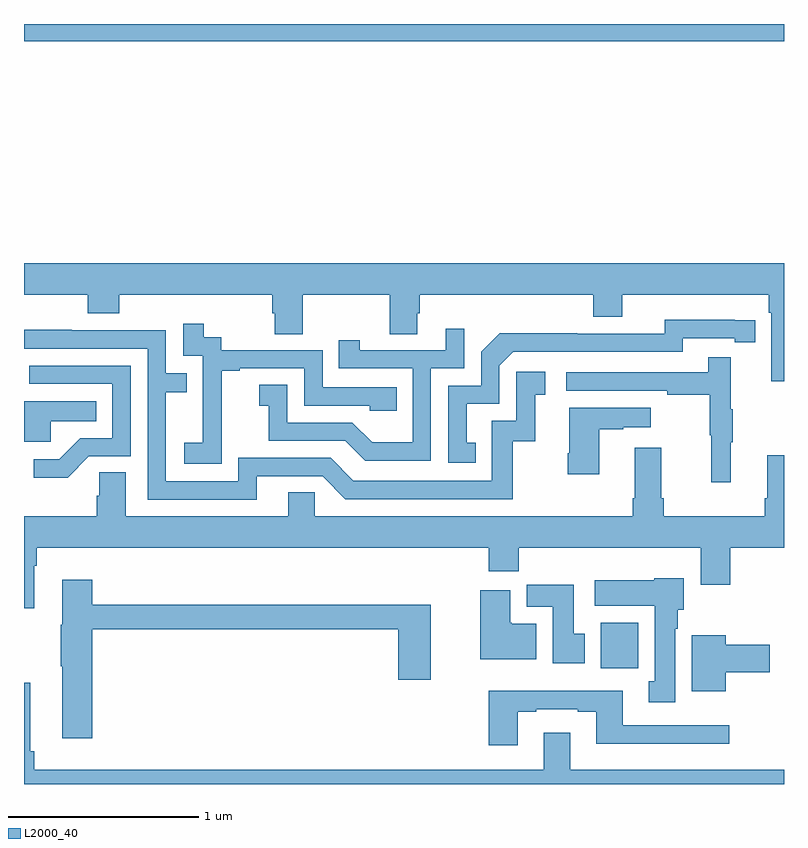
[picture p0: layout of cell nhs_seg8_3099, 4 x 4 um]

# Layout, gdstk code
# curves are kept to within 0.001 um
import gdstk
lib = gdstk.Library(unit=1e-6, precision=1e-09)
def R(c, l, rs):  # rectangles x0, y0, x1, y1
    for r in rs: c.add(gdstk.rectangle(r[:2], r[2:], *l))
def P(c, l, *ps):  # polygons
    for p in ps: c.add(gdstk.Polygon(p, *l))
L2000_40 = (2000, 40)

nhs_seg8_3099 = lib.new_cell('nhs_seg8_3099')
R(nhs_seg8_3099, L2000_40, [(306.035,1138.508,306.232,1138.75), (303,1141.808,307,1141.9)])
P(nhs_seg8_3099, L2000_40, [(307,1140.64),(303,1140.64),(303,1140.476),(303.335,1140.476),(303.335,1140.377),(303.5,1140.377),(303.5,1140.476),(304.307,1140.476),(304.307,1140.378),(304.319,1140.378),(304.319,1140.268),(304.467,1140.268),(304.467,1140.476),(304.924,1140.476),(304.924,1140.268),(305.071,1140.268),(305.071,1140.378),(305.084,1140.378),(305.084,1140.476),(305.996,1140.476),(305.996,1140.359),(306.148,1140.359),(306.148,1140.476),(306.92,1140.476),(306.92,1140.38),(306.933,1140.38),(306.933,1140.021),(307,1140.021)],
  [(305.378,1139.697),(305.329,1139.697),(305.329,1139.901),(305.502,1139.901),(305.502,1140.102),(305.574,1140.174),(306.468,1140.174),(306.468,1140.246),(306.74,1140.246),(306.74,1140.226),(306.848,1140.226),(306.848,1140.342),(306.372,1140.343),(306.372,1140.27),(305.912,1140.27),(305.912,1140.272),(305.504,1140.272),(305.406,1140.174),(305.406,1139.997),(305.232,1139.997),(305.232,1139.592),(305.378,1139.592)],
  [(304.041,1139.791),(304.04,1139.791),(304.04,1140.075),(304.135,1140.075),(304.135,1140.087),(304.476,1140.087),(304.476,1139.892),(304.821,1139.892),(304.821,1139.865),(304.961,1139.865),(304.961,1139.988),(304.572,1139.988),(304.572,1140.183),(304.038,1140.183),(304.038,1140.252),(303.946,1140.252),(303.946,1140.322),(303.837,1140.322),(303.837,1140.153),(303.942,1140.153),(303.942,1139.924),(303.941,1139.924),(303.941,1139.695),(303.843,1139.695),(303.843,1139.585),(304.041,1139.585)],
  [(305.142,1140.087),(305.316,1140.087),(305.316,1140.295),(305.219,1140.295),(305.219,1140.183),(304.768,1140.183),(304.768,1140.235),(304.657,1140.235),(304.657,1140.087),(305.046,1140.087),(305.046,1139.698),(304.832,1139.698),(304.728,1139.802),(304.386,1139.802),(304.386,1140.001),(304.239,1140.001),(304.239,1139.891),(304.288,1139.891),(304.288,1139.706),(304.691,1139.706),(304.796,1139.601),(305.142,1139.601)],
  [(304.225,1139.52),(304.572,1139.52),(304.692,1139.4),(305.572,1139.4),(305.572,1139.703),(305.69,1139.703),(305.69,1139.949),(305.743,1139.949),(305.743,1140.07),(305.592,1140.07),(305.592,1139.811),(305.463,1139.811),(305.463,1139.496),(304.734,1139.496),(304.614,1139.616),(304.128,1139.616),(304.128,1139.493),(303.747,1139.493),(303.747,1139.962),(303.857,1139.962),(303.857,1140.063),(303.747,1140.063),(303.747,1140.288),(303.251,1140.288),(303.251,1140.29),(303,1140.29),(303,1140.192),(303.651,1140.192),(303.651,1139.397),(304.225,1139.397)],
  [(306.719,1139.699),(306.73,1139.699),(306.73,1139.873),(306.719,1139.873),(306.719,1140.145),(306.601,1140.145),(306.601,1140.066),(305.853,1140.066),(305.853,1139.97),(306.385,1139.97),(306.385,1139.95),(306.609,1139.95),(306.609,1139.736),(306.616,1139.736),(306.616,1139.487),(306.719,1139.487)],
  [(303.342,1139.625),(303.561,1139.625),(303.561,1140.102),(303.027,1140.102),(303.027,1140.006),(303.465,1140.006),(303.465,1139.721),(303.296,1139.721),(303.185,1139.61),(303.051,1139.61),(303.051,1139.513),(303.229,1139.513)],
  [(303.141,1139.81),(303.38,1139.81),(303.38,1139.914),(303,1139.914),(303,1139.702),(303.141,1139.702)],
  [(306.028,1139.767),(306.155,1139.767),(306.155,1139.777),(306.298,1139.777),(306.298,1139.881),(305.87,1139.881),(305.87,1139.641),(305.863,1139.641),(305.863,1139.529),(306.028,1139.529)],
  [(303.055,1139.048),(303.068,1139.048),(303.068,1139.144),(305.447,1139.144),(305.447,1139.02),(305.603,1139.02),(305.603,1139.144),(306.563,1139.144),(306.563,1138.95),(306.716,1138.95),(306.716,1139.144),(307,1139.144),(307,1139.629),(306.911,1139.629),(306.911,1139.404),(306.899,1139.404),(306.899,1139.308),(306.368,1139.308),(306.368,1139.404),(306.355,1139.404),(306.355,1139.671),(306.215,1139.671),(306.215,1139.404),(306.203,1139.404),(306.203,1139.308),(304.53,1139.308),(304.53,1139.435),(304.391,1139.435),(304.391,1139.308),(303.535,1139.308),(303.535,1139.54),(303.396,1139.54),(303.396,1139.417),(303.383,1139.417),(303.383,1139.308),(303,1139.308),(303,1138.824),(303.055,1138.824)],
  [(306.427,1138.718),(306.442,1138.718),(306.442,1138.818),(306.472,1138.818),(306.472,1138.984),(306.318,1138.984),(306.318,1138.972),(306.003,1138.972),(306.003,1138.838),(306.32,1138.838),(306.32,1138.442),(306.287,1138.442),(306.287,1138.329),(306.427,1138.329)],
  [(303.359,1138.714),(304.97,1138.714),(304.97,1138.449),(305.14,1138.449),(305.14,1138.843),(303.359,1138.843),(303.359,1138.975),(303.2,1138.975),(303.2,1138.737),(303.193,1138.737),(303.193,1138.519),(303.2,1138.519),(303.2,1138.14),(303.359,1138.14)],
  [(305.95,1138.692),(305.893,1138.692),(305.893,1138.95),(305.645,1138.95),(305.645,1138.832),(305.783,1138.832),(305.783,1138.536),(305.95,1138.536)],
  [(305.695,1138.744),(305.566,1138.744),(305.566,1138.75),(305.56,1138.75),(305.56,1138.921),(305.402,1138.921),(305.402,1138.556),(305.695,1138.556)],
  [(306.694,1138.487),(306.925,1138.487),(306.925,1138.634),(306.694,1138.634),(306.694,1138.684),(306.515,1138.684),(306.515,1138.388),(306.694,1138.388)],
  [(307,1137.976),(305.875,1137.976),(305.875,1138.171),(305.735,1138.171),(305.735,1137.976),(303.053,1137.976),(303.053,1138.072),(303.034,1138.072),(303.034,1138.432),(303,1138.432),(303,1137.9),(307,1137.9)],
  [(305.599,1138.281),(305.695,1138.281),(305.695,1138.293),(305.915,1138.293),(305.915,1138.281),(306.011,1138.281),(306.011,1138.112),(306.712,1138.112),(306.712,1138.209),(306.151,1138.209),(306.151,1138.39),(305.447,1138.39),(305.447,1138.104),(305.599,1138.104)])

lib.write_gds('nhs_seg8_3099.gds')
